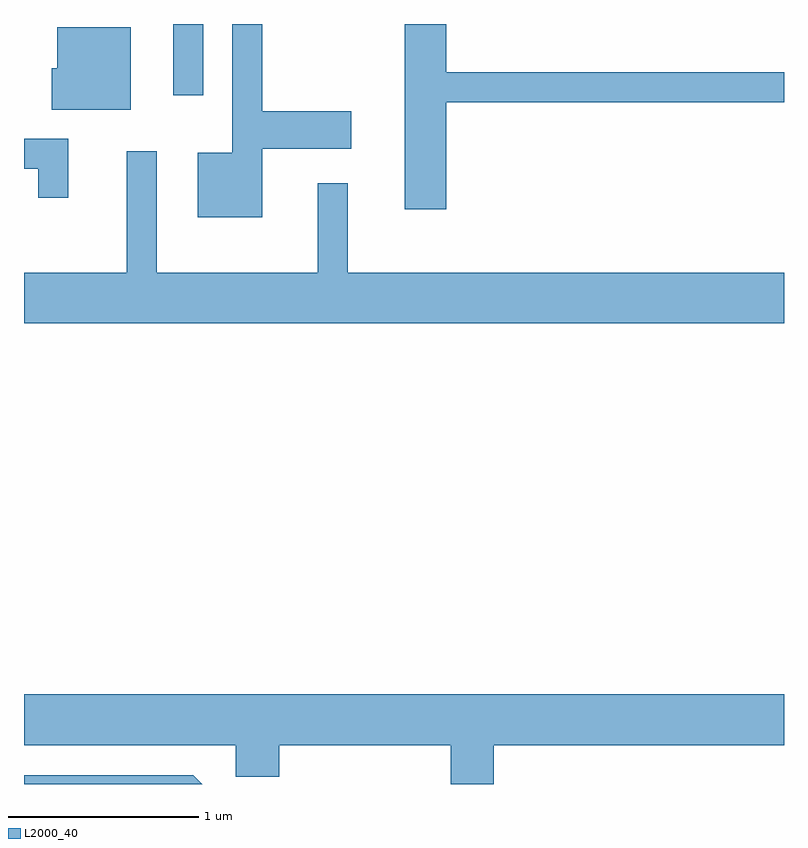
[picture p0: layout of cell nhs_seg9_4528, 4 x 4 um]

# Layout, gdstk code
import gdstk
lib = gdstk.Library(unit=1e-6, precision=1e-09)
def R(c, l, rs):  # rectangles x0, y0, x1, y1
    for r in rs: c.add(gdstk.rectangle(r[:2], r[2:], *l))
def P(c, l, *ps):  # polygons
    for p in ps: c.add(gdstk.Polygon(p, *l))
L2000_40 = (2000, 40)

nhs_seg9_4528 = lib.new_cell('nhs_seg9_4528')
R(nhs_seg9_4528, L2000_40, [(318.396,2064.058,318.554,2064.432)])
P(nhs_seg9_4528, L2000_40, [(319.834,2064.021),(321.611,2064.021),(321.611,2064.179),(319.834,2064.179),(319.834,2064.432),(319.616,2064.432),(319.616,2063.456),(319.834,2063.456)],
  [(318.864,2063.776),(319.334,2063.776),(319.334,2063.974),(318.864,2063.974),(318.864,2064.432),(318.706,2064.432),(318.706,2063.754),(318.526,2063.754),(318.526,2063.416),(318.864,2063.416)],
  [(318.174,2064.414),(317.786,2064.414),(317.786,2064.199),(317.756,2064.199),(317.756,2063.981),(318.174,2063.981)],
  [(317.844,2063.829),(317.611,2063.829),(317.611,2063.671),(317.686,2063.671),(317.686,2063.518),(317.844,2063.518)],
  [(321.611,2063.124),(319.314,2063.124),(319.314,2063.593),(319.156,2063.593),(319.156,2063.124),(318.309,2063.124),(318.309,2063.762),(318.151,2063.762),(318.151,2063.124),(317.611,2063.124),(317.611,2062.856),(321.611,2062.856)],
  [(320.084,2060.636),(321.611,2060.636),(321.611,2060.904),(317.611,2060.904),(317.611,2060.636),(318.726,2060.636),(318.726,2060.471),(318.954,2060.471),(318.954,2060.636),(319.856,2060.636),(319.856,2060.432),(320.084,2060.432)],
  [(318.502,2060.479),(317.611,2060.479),(317.611,2060.432),(318.549,2060.432)])

lib.write_gds('nhs_seg9_4528.gds')
